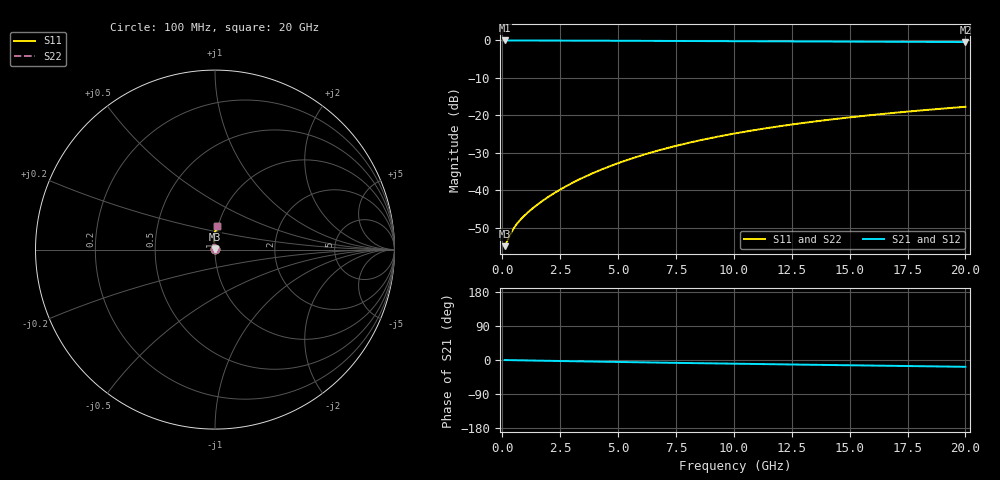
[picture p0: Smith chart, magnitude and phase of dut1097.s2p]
! Touchstone file exported from HFSS 2024.1.0
!  File:  C:/UserFiles/LocalFiles/RDL_TSV_Batchsim/temp_RDL_bottom_1097_1780053865.aedt
!  Generated:  07:26:21 PM May 29, 2026
!  Design:  RDL_bottom
!  Project:  temp_RDL_bottom_1097_1780053865
!  Setup:  Setup1
!  Solution:  Sweep
! Variables:
!  dtsv = 10.80580581um
!  hbump = 3um
!  htsv = 70.13um
!  ldown = 279.26um
!  lrdl = 100um
!  p = 40
!  p1 = 41.94um
!  rhole = 1um
!  t = 450um
!  tdown = 2.51um
!  trdl = 3.915915916um
!  wdown = 29.76um
!  wrdl = 20um
# GHz S MA R 50.000000
! Terminal data exported
! Port[1] = RDL1_T1
! Port[2] = RDL1_T2
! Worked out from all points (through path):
!   200 points, 100 MHz to 20 GHz, reference 50 ohm
!   highest |S21| = -0.01 dB at 100 MHz (marker M1); lowest = -0.4 dB at 20 GHz (marker M2)
!   group delay of S21, straight-line fit = 2.45 ps
!   lowest |S11| = -54.9 dB at 100 MHz (marker M3), VSWR 1.00, Z = 50.2 + j0.056 ohm
!   |S11| at or under -10 dB: start of sweep to end of sweep
!   |S22| runs from -54.9 to -17.7 dB; largest |S21 - S12| = 2.3e-15
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0.1  0.0018 18.0  0.9983 -0.1  0.9983 -0.1  0.0018 18.0
! Gamma 0 0 0 0
! Port Impedance 50 0 50 0
0.4  0.002782 46.3  0.9979 -0.5  0.9979 -0.5  0.002769 46.4
0.5  0.003133 50.5  0.9977 -0.6  0.9977 -0.6  0.00312 50.7
0.6  0.00347 53.9  0.9976 -0.7  0.9976 -0.7  0.003459 54.0
0.8  0.004114 59.3  0.9974 -0.9  0.9974 -0.9  0.004106 59.5
1.1  0.005065 66.0  0.997 -1.2  0.997 -1.2  0.005062 66.1
1.6  0.006747 74.7  0.9964 -1.7  0.9964 -1.7  0.006747 74.7
2.2  0.009006 82.2  0.9955 -2.4  0.9955 -2.4  0.009007 82.2
2.8  0.01154 87.5  0.9943 -3.0  0.9943 -3.0  0.01154 87.6
3.5  0.01484 91.9  0.9927 -3.7  0.9927 -3.7  0.01484 91.9
4.2  0.01848 94.7  0.9909 -4.4  0.9909 -4.4  0.01848 94.7
5  0.02302 96.8  0.9886 -5.2  0.9886 -5.2  0.02302 96.8
5.9  0.02855 98.0  0.986 -6.1  0.986 -6.1  0.02855 98.0
6.8  0.03443 98.4  0.9833 -6.9  0.9833 -6.9  0.03443 98.4
7.6  0.03989 98.2  0.9808 -7.7  0.9808 -7.7  0.03989 98.2
8.4  0.04551 97.8  0.9785 -8.4  0.9785 -8.4  0.04551 97.8
10.1  0.05782 96.3  0.9736 -9.8  0.9736 -9.8  0.05782 96.3
11.7  0.06962 94.4  0.9693 -11.2  0.9693 -11.2  0.06962 94.4
13.4  0.08222 92.3  0.9651 -12.6  0.9651 -12.6  0.08223 92.3
15  0.09404 90.2  0.9614 -13.9  0.9614 -13.9  0.09404 90.2
16.7  0.1065 88.1  0.9576 -15.3  0.9576 -15.3  0.1065 88.1
20  0.1301 84.0  0.9509 -17.9  0.9509 -17.9  0.1301 84.0
